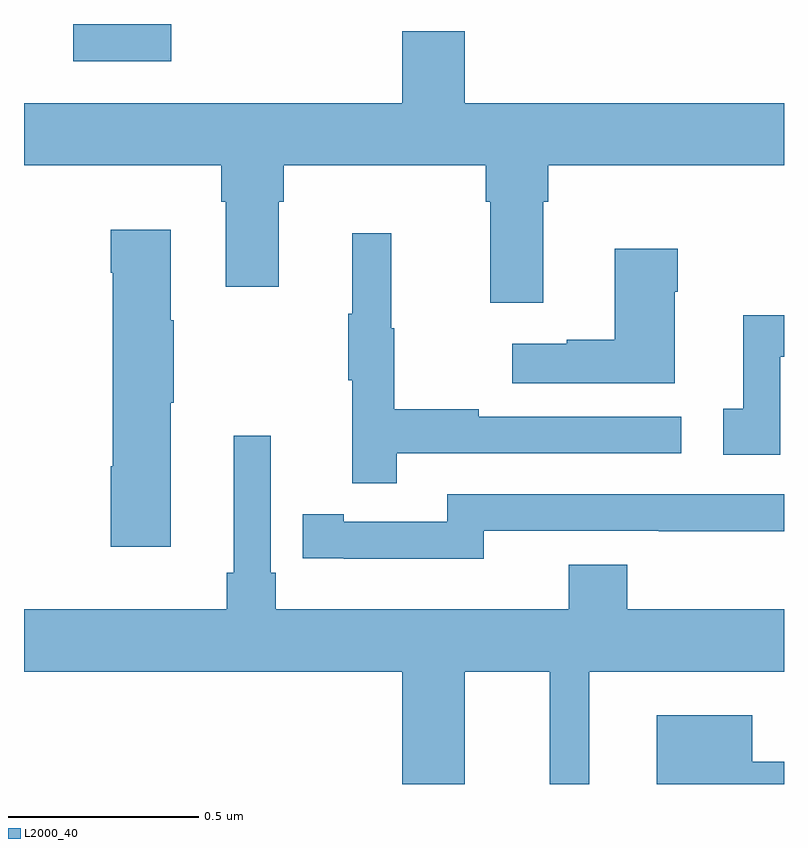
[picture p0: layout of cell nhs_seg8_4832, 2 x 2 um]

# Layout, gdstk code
import gdstk
lib = gdstk.Library(unit=1e-6, precision=1e-09)
def R(c, l, rs):  # rectangles x0, y0, x1, y1
    for r in rs: c.add(gdstk.rectangle(r[:2], r[2:], *l))
def P(c, l, *ps):  # polygons
    for p in ps: c.add(gdstk.Polygon(p, *l))
L2000_40 = (2000, 40)

nhs_seg8_4832 = lib.new_cell('nhs_seg8_4832')
R(nhs_seg8_4832, L2000_40, [(176.13,1088.802,176.387,1088.9)])
P(nhs_seg8_4832, L2000_40, [(177.16,1088.881),(176.996,1088.881),(176.996,1088.692),(176,1088.692),(176,1088.528),(176.519,1088.528),(176.519,1088.432),(176.531,1088.432),(176.531,1088.208),(176.671,1088.208),(176.671,1088.432),(176.684,1088.432),(176.684,1088.528),(177.215,1088.528),(177.215,1088.432),(177.227,1088.432),(177.227,1088.166),(177.367,1088.166),(177.367,1088.432),(177.38,1088.432),(177.38,1088.528),(178,1088.528),(178,1088.692),(177.16,1088.692)],
  [(176.386,1087.903),(176.394,1087.903),(176.394,1088.12),(176.386,1088.12),(176.386,1088.359),(176.228,1088.359),(176.228,1088.246),(176.233,1088.246),(176.233,1087.736),(176.228,1087.736),(176.228,1087.524),(176.386,1087.524)],
  [(176.981,1087.77),(177.73,1087.77),(177.73,1087.866),(177.197,1087.866),(177.197,1087.886),(176.974,1087.886),(176.974,1088.1),(176.966,1088.1),(176.966,1088.35),(176.864,1088.35),(176.864,1088.137),(176.853,1088.137),(176.853,1087.963),(176.864,1087.963),(176.864,1087.692),(176.981,1087.692)],
  [(177.712,1088.195),(177.72,1088.195),(177.72,1088.308),(177.554,1088.308),(177.554,1088.069),(177.428,1088.069),(177.428,1088.059),(177.285,1088.059),(177.285,1087.955),(177.712,1087.955)],
  [(177.99,1088.025),(178,1088.025),(178,1088.134),(177.893,1088.134),(177.893,1087.887),(177.84,1087.887),(177.84,1087.767),(177.99,1087.767)],
  [(177.16,1087.196),(177.383,1087.196),(177.383,1086.9),(177.487,1086.9),(177.487,1087.196),(178,1087.196),(178,1087.36),(177.587,1087.36),(177.587,1087.477),(177.434,1087.477),(177.434,1087.36),(176.663,1087.36),(176.663,1087.456),(176.649,1087.456),(176.649,1087.816),(176.552,1087.816),(176.552,1087.456),(176.533,1087.456),(176.533,1087.36),(176,1087.36),(176,1087.196),(176.996,1087.196),(176.996,1086.9),(177.16,1086.9)],
  [(177.21,1087.566),(177.67,1087.566),(177.67,1087.565),(178,1087.565),(178,1087.662),(177.114,1087.662),(177.114,1087.59),(176.842,1087.59),(176.842,1087.61),(176.734,1087.61),(176.734,1087.494),(176.842,1087.494),(176.842,1087.493),(177.21,1087.493)],
  [(178,1086.958),(177.916,1086.958),(177.916,1087.081),(177.665,1087.081),(177.665,1086.9),(178,1086.9)])

lib.write_gds('nhs_seg8_4832.gds')
